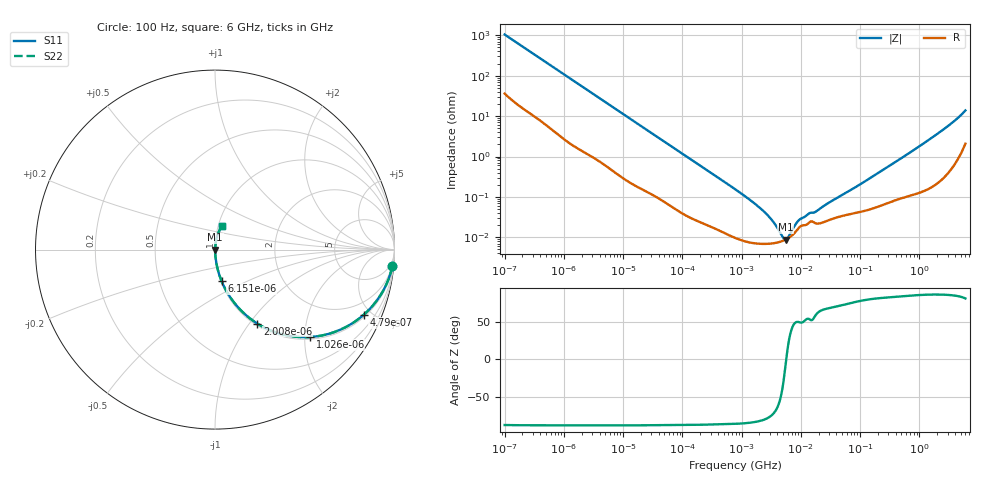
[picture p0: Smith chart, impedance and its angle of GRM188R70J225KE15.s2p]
!Murata Part Number: GRM188R70J225KE15
!These Parameters are Measured in Series Mode Connection
!Data Generated on Mar 30, 2021
!  o--ll--o
!Port1  Port2
!  o------o
!Operation Temp=25[degC], DC Bias Voltage=0[V]
!Freq. Start=100[Hz] Stop=6[GHz] 401[Steps]
# Hz S RI R 50
!Freq.(Hz) S11(Real) S11(Imag) S21(Real) S21(Imag) S12(Real) S12(Imag) S22(Real) S22(Imag)
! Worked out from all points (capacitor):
!   401 points, 100 Hz to 6 GHz, reference 50 ohm
!   read as one part in series: C = 1.51 uF near 109 Hz
!   lowest |Z| = 8.8 mohm at 5.555 MHz (marker M1)
!   series resonance near 5.683 MHz, so ESL is about 520 pH
!   S11 on the Smith chart (normalised r, x): 100 Hz: 2, -21; 479 Hz: 1.13, -4.49; 1.026 kHz: 1.05, -2.12; 2.008 kHz: 1.03, -1.09; 6.151 kHz: 1.01, -0.36; 6 GHz: 1.04, +0.27
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100  0.9878 -0.0938  0.0122 0.0938  0.0122 0.0938  0.9878 -0.0938
245  0.9438 -0.216  0.0562 0.216  0.0562 0.216  0.9438 -0.216
479  0.8276 -0.364  0.1724 0.364  0.1724 0.364  0.8276 -0.364
1026  0.5289 -0.487  0.4711 0.487  0.4711 0.487  0.5289 -0.487
2008  0.2357 -0.4121  0.7643 0.4121  0.7643 0.4121  0.2357 -0.4121
3287  0.1083 -0.2976  0.8917 0.2976  0.8917 0.2976  0.1083 -0.2976
6151  0.0364 -0.1746  0.9636 0.1746  0.9636 0.1746  0.0364 -0.1746
13772  0.00882 -0.0814  0.9912 0.0814  0.9912 0.0814  0.00882 -0.0814
40335  0.00172 -0.0286  0.9983 0.0286  0.9983 0.0286  0.00172 -0.0286
774597  9.93e-05 -0.00156  0.9999 0.00156  0.9999 0.00156  9.93e-05 -0.00156
2372521  6.87e-05 -0.000432  0.9999 0.000432  0.9999 0.000432  6.87e-05 -0.000432
3394479  7.1e-05 -0.000236  0.9999 0.000236  0.9999 0.000236  7.1e-05 -0.000236
4856642  8.04e-05 -6.94e-05  0.9999 6.94e-05  0.9999 6.94e-05  8.04e-05 -6.94e-05
5554849  8.74e-05 -1e-05  0.9999 1e-05  0.9999 1e-05  8.74e-05 -1e-05
6353432  9.79e-05 4.94e-05  0.9999 -4.94e-05  0.9999 -4.94e-05  9.79e-05 4.94e-05
8311524  0.000141 0.000166  0.9999 -0.000166  0.9999 -0.000166  0.000141 0.000166
9506416  0.000178 0.000208  0.9998 -0.000208  0.9998 -0.000208  0.000178 0.000208
1.555665e7  0.000247 0.000322  0.9998 -0.000322  0.9998 -0.000322  0.000247 0.000322
1.86079e7  0.000218 0.000391  0.9998 -0.000391  0.9998 -0.000391  0.000218 0.000391
3.124326e8  0.000761 0.00582  0.9992 -0.00582  0.9992 -0.00582  0.000761 0.00582
2.048624e9  0.00354 0.0367  0.9965 -0.0367  0.9965 -0.0367  0.00354 0.0367
6e9  0.0377 0.1289  0.9623 -0.1289  0.9623 -0.1289  0.0377 0.1289
